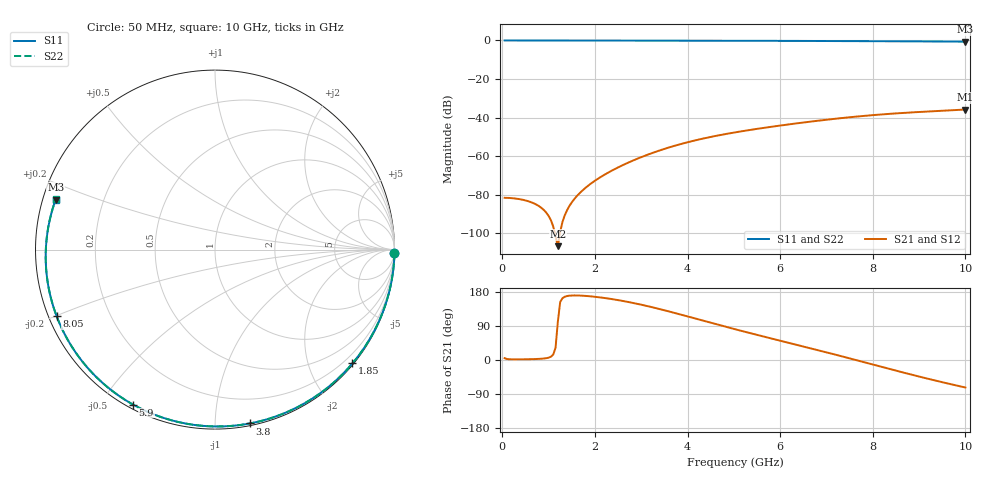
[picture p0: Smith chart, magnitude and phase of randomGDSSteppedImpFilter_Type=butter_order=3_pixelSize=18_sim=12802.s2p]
! freq	dB(S11)	phase(S11)	dB(S12)	phase(S12)
!  dB(S21)	phase(S21)	dB(S22)	phase(S22)
!S-par simulation data
#  GHz  S  DB  R 50
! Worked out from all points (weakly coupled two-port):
!   200 points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, 50 MHz to 10 GHz, reference 50 ohm
!   highest |S21| = -35.85 dB at 10 GHz (marker M1); lowest = -106.8 dB at 1.2 GHz (marker M2)
!   lowest |S11| = -0.6 dB at 10 GHz (marker M3), VSWR 27.77, Z = 1.84 + j7.66 ohm
!   |S11| at or under -10 dB: nowhere
!   |S22| runs from -0.6 to 0.0 dB; largest |S21 - S12| = 0
!   S11 on the Smith chart (normalised r, x): 50 MHz: open; 1.85 GHz: 0.03, -2.78; 3.8 GHz: 0.02, -1.22; 5.9 GHz: 0.02, -0.60; 8.05 GHz: 0.02, -0.20; 10 GHz: 0.04, +0.15
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0.05  -0.00 -1.1  -81.67 4.8  -81.67 4.8  -0.00 -1.1
0.6  -0.01 -13.0  -83.76 2.1  -83.76 2.1  -0.01 -13.0
1.2  -0.03 -25.9  -106.77 101.5  -106.77 101.5  -0.03 -25.9
1.6  -0.04 -34.4  -81.03 170.3  -81.03 170.3  -0.04 -34.4
1.65  -0.04 -35.4  -79.74 170.2  -79.74 170.2  -0.04 -35.4
1.75  -0.05 -37.5  -77.45 169.5  -77.45 169.5  -0.05 -37.5
1.85  -0.05 -39.6  -75.45 168.6  -75.45 168.6  -0.05 -39.6
2.15  -0.06 -45.8  -70.49 164.6  -70.49 164.6  -0.06 -45.8
2.5  -0.07 -53.0  -65.89 158.1  -65.89 158.1  -0.07 -53.0
2.95  -0.08 -62.1  -61.04 147.3  -61.04 147.3  -0.08 -62.1
3.4  -0.09 -71.0  -57.06 134.4  -57.06 134.4  -0.09 -71.0
3.8  -0.11 -78.8  -54.12 121.6  -54.12 121.6  -0.11 -78.8
4.4  -0.13 -90.2  -50.58 101.6  -50.58 101.6  -0.13 -90.2
5.05  -0.16 -102.3  -47.61 80.4  -47.61 80.4  -0.16 -102.3
5.9  -0.20 -117.9  -44.50 54.1  -44.50 54.1  -0.20 -117.9
6.7  -0.26 -132.4  -41.99 29.6  -41.99 29.6  -0.26 -132.4
7.4  -0.32 -145.2  -40.10 7.6  -40.10 7.6  -0.32 -145.2
8.05  -0.38 -157.3  -38.66 -13.5  -38.66 -13.5  -0.38 -157.3
8.35  -0.41 -163.1  -38.11 -23.2  -38.11 -23.2  -0.41 -163.1
9.2  -0.51 179.9  -36.87 -49.7  -36.87 -49.7  -0.51 179.9
9.6  -0.57 171.4  -36.36 -61.4  -36.36 -61.4  -0.57 171.4
10  -0.63 162.6  -35.85 -72.7  -35.85 -72.7  -0.63 162.5
